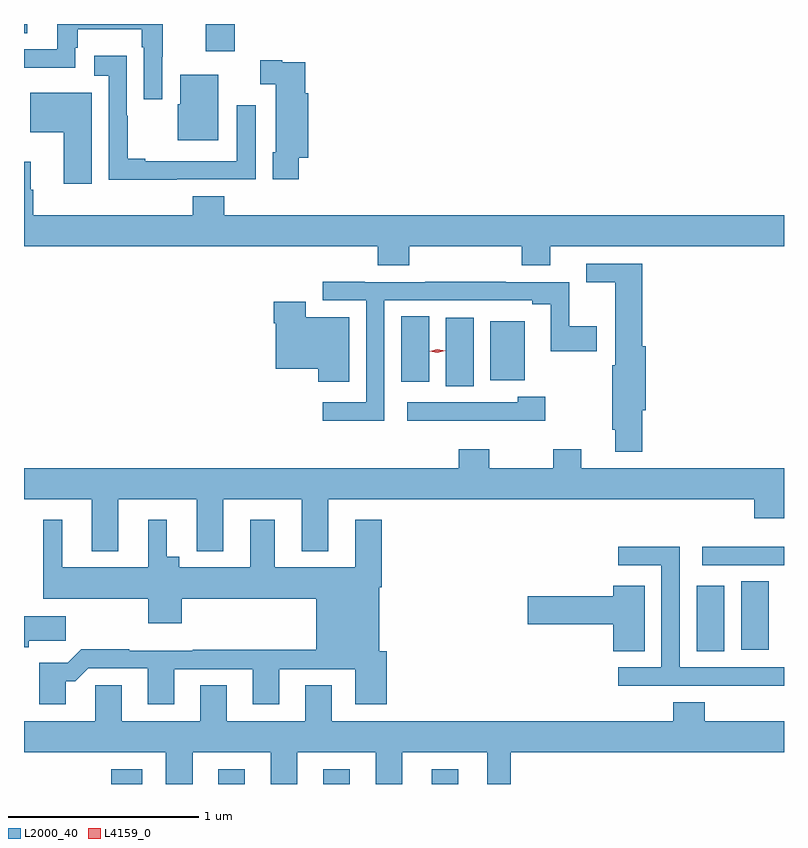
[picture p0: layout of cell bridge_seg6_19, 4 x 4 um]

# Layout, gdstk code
import gdstk
lib = gdstk.Library(unit=1e-6, precision=1e-09)
def R(c, l, rs):  # rectangles x0, y0, x1, y1
    for r in rs: c.add(gdstk.rectangle(r[:2], r[2:], *l))
def P(c, l, *ps):  # polygons
    for p in ps: c.add(gdstk.Polygon(p, *l))
L2000_40 = (2000, 40)
L4159_0 = (4159, 0)

bridge_seg6_19 = lib.new_cell('bridge_seg6_19')
R(bridge_seg6_19, L2000_40, [(899.297,947.17,899.461,947.248), (899.861,947.17,900.001,947.248), (900.413,947.17,900.553,947.248), (900.983,947.17,901.123,947.248), (902.378,947.869,902.524,948.214), (902.612,947.877,902.758,948.236), (902.409,948.321,902.838,948.418), (901.058,949.264,901.204,949.624), (900.824,949.287,900.97,949.631), (901.292,949.295,901.474,949.606), (899.795,951.027,899.948,951.17), (898.838,951.121,898.855,951.17)])
P(bridge_seg6_19, L2000_40, [(899.565,950.998),(899.568,950.998),(899.568,951.17),(899.012,951.17),(899.012,951.036),(898.838,951.036),(898.838,950.939),(899.109,950.939),(899.109,951.045),(899.122,951.045),(899.122,951.143),(899.457,951.143),(899.457,951.047),(899.469,951.047),(899.469,950.775),(899.565,950.775)],
  [(899.642,950.352),(900.058,950.352),(900.058,950.743),(899.957,950.743),(899.957,950.448),(899.476,950.448),(899.476,950.461),(899.384,950.461),(899.384,950.687),(899.379,950.687),(899.379,951.004),(899.208,951.004),(899.208,950.898),(899.283,950.898),(899.283,950.351),(899.642,950.351)],
  [(900.284,950.465),(900.335,950.465),(900.335,950.805),(900.317,950.805),(900.317,950.968),(900.197,950.968),(900.197,950.978),(900.081,950.978),(900.081,950.854),(900.164,950.854),(900.164,950.496),(900.146,950.496),(900.146,950.352),(900.284,950.352)],
  [(899.86,950.902),(899.66,950.902),(899.66,950.748),(899.648,950.748),(899.648,950.558),(899.86,950.558)],
  [(899.194,950.809),(898.871,950.809),(898.871,950.6),(899.048,950.6),(899.048,950.328),(899.194,950.328)],
  [(900.866,950),(901.457,950),(901.457,949.901),(901.609,949.901),(901.609,950),(902.838,950),(902.838,950.164),(899.891,950.164),(899.891,950.263),(899.726,950.263),(899.726,950.164),(898.886,950.164),(898.886,950.298),(898.873,950.298),(898.873,950.446),(898.838,950.446),(898.838,950),(900.701,950),(900.701,949.901),(900.866,949.901)],
  [(902.093,949.137),(902.111,949.137),(902.111,949.473),(902.093,949.473),(902.093,949.908),(901.797,949.908),(901.797,949.81),(901.949,949.81),(901.949,949.373),(901.933,949.373),(901.933,949.034),(901.949,949.034),(901.949,948.918),(902.093,948.918)],
  [(900.735,949.716),(901.514,949.716),(901.514,949.696),(901.61,949.696),(901.61,949.448),(901.852,949.448),(901.852,949.579),(901.707,949.579),(901.707,949.812),(901.373,949.812),(901.373,949.814),(900.949,949.814),(900.949,949.812),(900.632,949.812),(900.632,949.814),(900.411,949.814),(900.411,949.716),(900.639,949.716),(900.639,949.179),(900.411,949.179),(900.411,949.081),(900.735,949.081)],
  [(900.55,949.627),(900.322,949.627),(900.322,949.708),(900.152,949.708),(900.152,949.595),(900.164,949.595),(900.164,949.355),(900.386,949.355),(900.386,949.287),(900.55,949.287)],
  [(901.582,949.207),(901.437,949.207),(901.437,949.179),(900.855,949.179),(900.855,949.082),(901.582,949.082)],
  [(899.335,948.668),(899.747,948.668),(899.747,948.395),(899.887,948.395),(899.887,948.668),(900.299,948.668),(900.299,948.395),(900.439,948.395),(900.439,948.668),(902.681,948.668),(902.681,948.569),(902.838,948.569),(902.838,948.832),(901.771,948.832),(901.771,948.931),(901.624,948.931),(901.624,948.832),(901.287,948.832),(901.287,948.931),(901.127,948.931),(901.127,948.832),(898.838,948.832),(898.838,948.668),(899.195,948.668),(899.195,948.395),(899.335,948.395)],
  [(899.059,947.711),(899.108,947.711),(899.175,947.778),(899.489,947.778),(899.489,947.589),(899.629,947.589),(899.629,947.775),(900.041,947.775),(900.041,947.589),(900.181,947.589),(900.181,947.775),(900.581,947.775),(900.581,947.589),(900.746,947.589),(900.746,947.868),(900.709,947.868),(900.709,948.206),(900.722,948.206),(900.722,948.562),(900.581,948.562),(900.581,948.31),(900.157,948.31),(900.157,948.562),(900.029,948.562),(900.029,948.31),(899.656,948.31),(899.656,948.367),(899.59,948.367),(899.59,948.562),(899.492,948.562),(899.492,948.31),(899.038,948.31),(899.038,948.562),(898.94,948.562),(898.94,948.146),(899.491,948.146),(899.491,948.015),(899.669,948.015),(899.669,948.146),(900.377,948.146),(900.377,947.876),(899.725,947.876),(899.725,947.872),(899.393,947.872),(899.393,947.879),(899.138,947.879),(899.068,947.809),(898.919,947.809),(898.919,947.589),(899.059,947.589)],
  [(902.186,947.688),(902.503,947.688),(902.503,947.687),(902.838,947.687),(902.838,947.784),(902.289,947.784),(902.289,948.42),(901.965,948.42),(901.965,948.321),(902.193,948.321),(902.193,947.784),(901.965,947.784),(901.965,947.687),(902.186,947.687)],
  [(902.104,948.214),(901.94,948.214),(901.94,948.158),(901.488,948.158),(901.488,948.011),(901.94,948.011),(901.94,947.869),(902.104,947.869)],
  [(898.864,947.923),(899.059,947.923),(899.059,948.052),(898.838,948.052),(898.838,947.891),(898.864,947.891)],
  [(899.353,947.69),(899.214,947.69),(899.214,947.5),(898.838,947.5),(898.838,947.336),(899.585,947.336),(899.585,947.17),(899.725,947.17),(899.725,947.336),(900.137,947.336),(900.137,947.17),(900.277,947.17),(900.277,947.336),(900.689,947.336),(900.689,947.17),(900.828,947.17),(900.828,947.336),(901.277,947.336),(901.277,947.17),(901.399,947.17),(901.399,947.336),(902.838,947.336),(902.838,947.5),(902.42,947.5),(902.42,947.599),(902.255,947.599),(902.255,947.5),(900.457,947.5),(900.457,947.69),(900.317,947.69),(900.317,947.5),(899.905,947.5),(899.905,947.69),(899.765,947.69),(899.765,947.5),(899.353,947.5)])
P(bridge_seg6_19, L4159_0, [(901.014,949.439),(900.973,949.448),(900.972,949.448),(900.973,949.448),(901.014,949.459),(901.055,949.45),(901.055,949.45),(901.055,949.449)])

lib.write_gds('bridge_seg6_19.gds')
